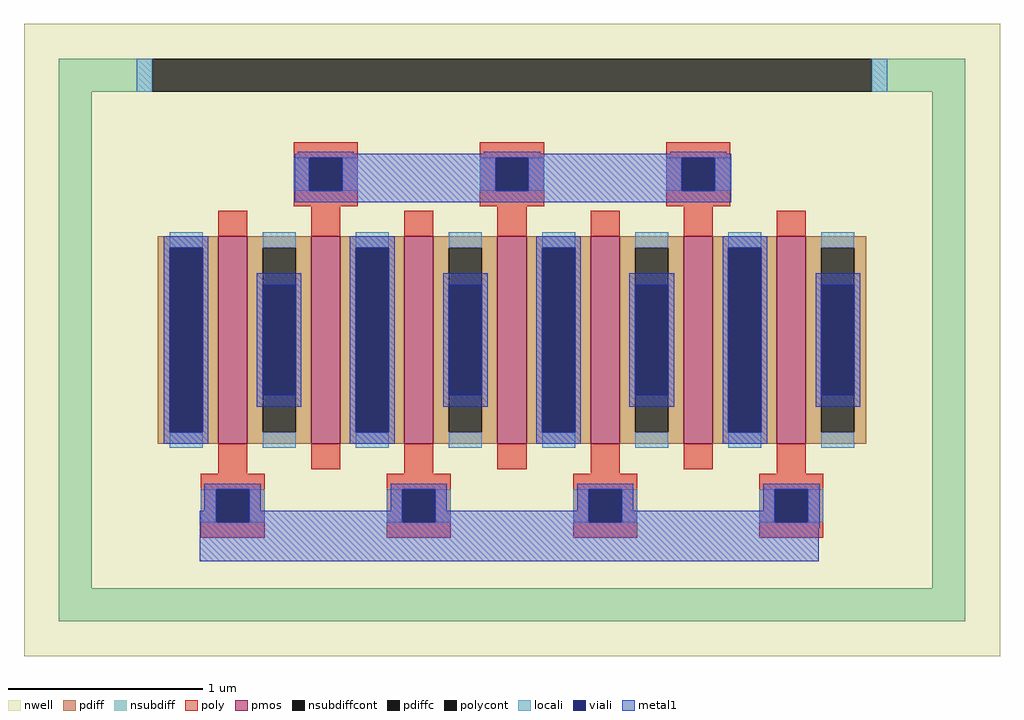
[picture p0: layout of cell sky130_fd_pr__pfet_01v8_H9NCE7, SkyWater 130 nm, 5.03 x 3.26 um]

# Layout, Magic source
magic
tech sky130B
magscale 1 2
<< nwell >>
rect -503 -326 503 326
<< pmos >>
rect -303 -107 -273 107
rect -207 -107 -177 107
rect -111 -107 -81 107
rect -15 -107 15 107
rect 81 -107 111 107
rect 177 -107 207 107
rect 273 -107 303 107
<< pdiff >>
rect -365 95 -303 107
rect -365 -95 -353 95
rect -319 -95 -303 95
rect -365 -107 -303 -95
rect -273 95 -207 107
rect -273 -95 -257 95
rect -223 -95 -207 95
rect -273 -107 -207 -95
rect -177 95 -111 107
rect -177 -95 -161 95
rect -127 -95 -111 95
rect -177 -107 -111 -95
rect -81 95 -15 107
rect -81 -95 -65 95
rect -31 -95 -15 95
rect -81 -107 -15 -95
rect 15 95 81 107
rect 15 -95 31 95
rect 65 -95 81 95
rect 15 -107 81 -95
rect 111 95 177 107
rect 111 -95 127 95
rect 161 -95 177 95
rect 111 -107 177 -95
rect 207 95 273 107
rect 207 -95 223 95
rect 257 -95 273 95
rect 207 -107 273 -95
rect 303 95 365 107
rect 303 -95 319 95
rect 353 -95 365 95
rect 303 -107 365 -95
<< pdiffc >>
rect -353 -95 -319 95
rect -257 -95 -223 95
rect -161 -95 -127 95
rect -65 -95 -31 95
rect 31 -95 65 95
rect 127 -95 161 95
rect 223 -95 257 95
rect 319 -95 353 95
<< nsubdiff >>
rect -467 256 -371 290
rect 371 256 467 290
rect -467 -256 -433 256
rect 433 -256 467 256
rect -467 -290 467 -256
<< nsubdiffcont >>
rect -371 256 371 290
<< poly >>
rect -225 188 -159 204
rect -225 154 -209 188
rect -175 154 -159 188
rect -225 138 -159 154
rect -33 188 33 204
rect -33 154 -17 188
rect 17 154 33 188
rect -33 138 33 154
rect 159 188 225 204
rect 159 154 175 188
rect 209 154 225 188
rect 159 138 225 154
rect -303 107 -273 133
rect -207 107 -177 138
rect -111 107 -81 133
rect -15 107 15 138
rect 81 107 111 133
rect 177 107 207 138
rect 273 107 303 133
rect -303 -138 -273 -107
rect -207 -133 -177 -107
rect -111 -138 -81 -107
rect -15 -133 15 -107
rect 81 -138 111 -107
rect 177 -133 207 -107
rect 273 -138 303 -107
rect -321 -154 -255 -138
rect -321 -188 -305 -154
rect -271 -188 -255 -154
rect -321 -204 -255 -188
rect -129 -154 -63 -138
rect -129 -188 -113 -154
rect -79 -188 -63 -154
rect -129 -204 -63 -188
rect 63 -154 129 -138
rect 63 -188 79 -154
rect 113 -188 129 -154
rect 63 -204 129 -188
rect 255 -154 321 -138
rect 255 -188 271 -154
rect 305 -188 321 -154
rect 255 -204 321 -188
<< polycont >>
rect -209 154 -175 188
rect -17 154 17 188
rect 175 154 209 188
rect -305 -188 -271 -154
rect -113 -188 -79 -154
rect 79 -188 113 -154
rect 271 -188 305 -154
<< locali >>
rect -387 256 -371 290
rect 371 256 387 290
rect -225 154 -209 188
rect -175 154 -159 188
rect -33 154 -17 188
rect 17 154 33 188
rect 159 154 175 188
rect 209 154 225 188
rect -353 95 -319 111
rect -353 -111 -319 -95
rect -257 95 -223 111
rect -257 -111 -223 -95
rect -161 95 -127 111
rect -161 -111 -127 -95
rect -65 95 -31 111
rect -65 -111 -31 -95
rect 31 95 65 111
rect 31 -111 65 -95
rect 127 95 161 111
rect 127 -111 161 -95
rect 223 95 257 111
rect 223 -111 257 -95
rect 319 95 353 111
rect 319 -111 353 -95
rect -321 -188 -305 -154
rect -271 -188 -255 -154
rect -129 -188 -113 -154
rect -79 -188 -63 -154
rect 63 -188 79 -154
rect 113 -188 129 -154
rect 255 -188 271 -154
rect 305 -188 321 -154
<< viali >>
rect -209 154 -175 188
rect -17 154 17 188
rect 175 154 209 188
rect -353 -95 -319 95
rect -257 -57 -223 57
rect -161 -95 -127 95
rect -65 -57 -31 57
rect 31 -95 65 95
rect 127 -57 161 57
rect 223 -95 257 95
rect 319 -57 353 57
rect -305 -188 -271 -154
rect -113 -188 -79 -154
rect 79 -188 113 -154
rect 271 -188 305 -154
<< metal1 >>
rect -221 192 -163 194
rect -29 192 29 194
rect 163 192 221 194
rect -224 188 226 192
rect -224 154 -209 188
rect -175 154 -17 188
rect 17 154 175 188
rect 209 154 226 188
rect -224 142 226 154
rect -359 95 -313 107
rect -359 -95 -353 95
rect -319 -95 -313 95
rect -167 95 -121 107
rect -263 57 -217 69
rect -263 -57 -257 57
rect -223 -57 -217 57
rect -263 -69 -217 -57
rect -359 -107 -313 -95
rect -167 -95 -161 95
rect -127 -95 -121 95
rect 25 95 71 107
rect -71 57 -25 69
rect -71 -57 -65 57
rect -31 -57 -25 57
rect -71 -69 -25 -57
rect -167 -107 -121 -95
rect 25 -95 31 95
rect 65 -95 71 95
rect 217 95 263 107
rect 121 57 167 69
rect 121 -57 127 57
rect 161 -57 167 57
rect 121 -69 167 -57
rect 25 -107 71 -95
rect 217 -95 223 95
rect 257 -95 263 95
rect 313 57 359 69
rect 313 -57 319 57
rect 353 -57 359 57
rect 313 -69 359 -57
rect 217 -107 263 -95
rect -317 -154 -259 -148
rect -317 -176 -305 -154
rect -322 -188 -305 -176
rect -271 -176 -259 -154
rect -125 -154 -67 -148
rect -125 -176 -113 -154
rect -271 -188 -113 -176
rect -79 -176 -67 -154
rect 67 -154 125 -148
rect 67 -176 79 -154
rect -79 -188 79 -176
rect 113 -176 125 -154
rect 259 -154 317 -148
rect 259 -176 271 -154
rect 113 -188 271 -176
rect 305 -188 317 -154
rect -322 -194 317 -188
rect -322 -228 316 -194
<< properties >>
string FIXED_BBOX -450 -273 450 273
string gencell sky130_fd_pr__pfet_01v8
string library sky130
string parameters w 1.07 l 0.15 m 1 nf 7 diffcov 100 polycov 100 guard 1 glc 0 grc 0 gtc 1 gbc 0 tbcov 100 rlcov 100 topc 1 botc 1 poverlap 0 doverlap 1 lmin 0.15 wmin 0.42 compatible {sky130_fd_pr__pfet_01v8  sky130_fd_pr__pfet_01v8_lvt sky130_fd_pr__pfet_01v8_hvt  sky130_fd_pr__pfet_g5v0d10v5} full_metal 0 viasrc 60 viadrn 100 viagate 100 viagb 0 viagr 0 viagl 0 viagt 0
<< end >>
